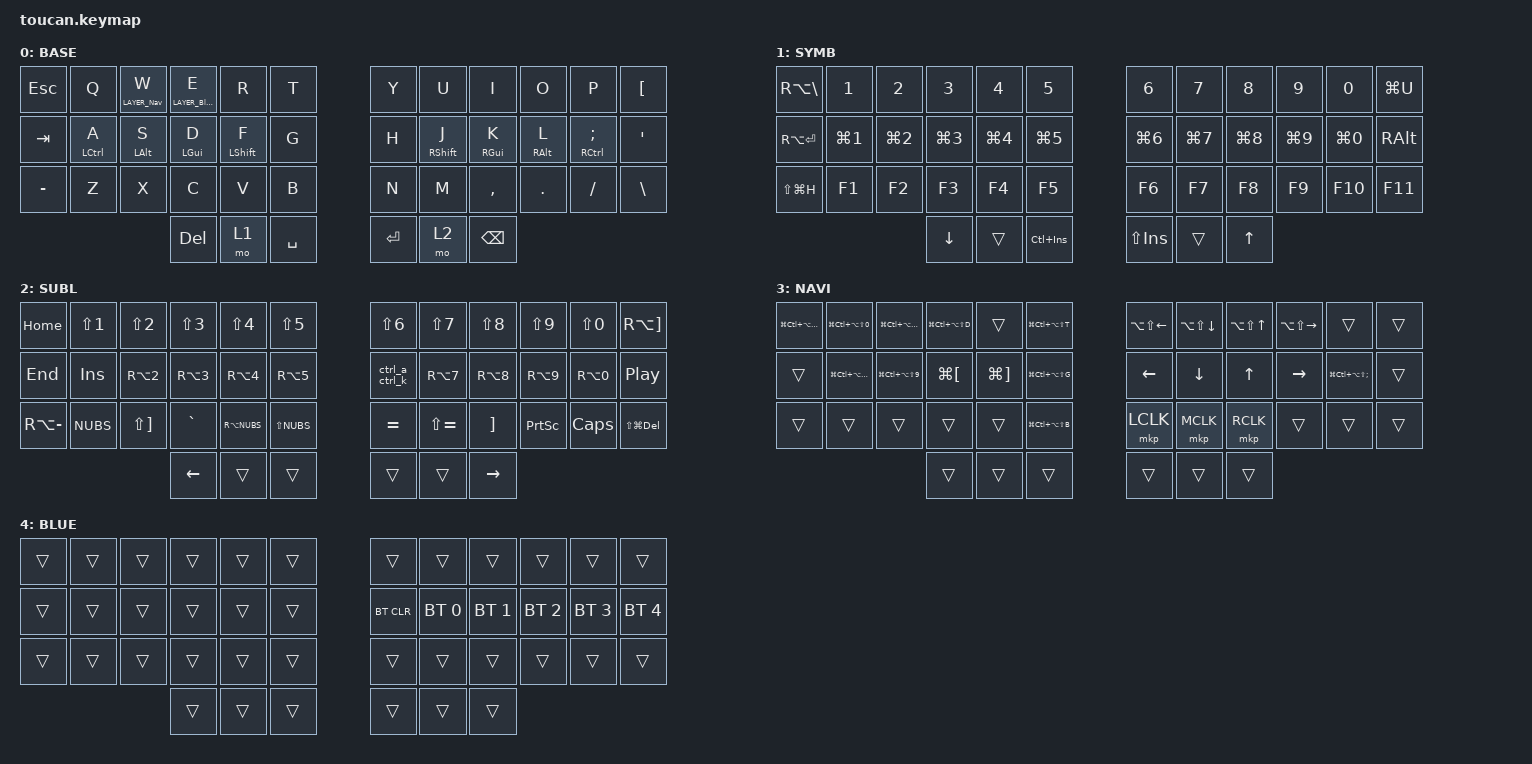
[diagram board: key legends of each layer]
#include <behaviors.dtsi>
#include <dt-bindings/zmk/keys.h>
#include <dt-bindings/zmk/bt.h>
#include <dt-bindings/zmk/outputs.h>
#include <dt-bindings/zmk/pointing.h>

#define LAYER_Base 0
#define LAYER_Symb 1
#define LAYER_Subl 2
#define LAYER_Nav 3
#define LAYER_Bluetooth 4

/ {
    macros {
        ctrl_a_ctrl_k: ctrl_a_ctrl_k {
            compatible = "zmk,behavior-macro";
            #binding-cells = <0>;
            bindings = <&macro_press &kp LCTRL>
                     , <&macro_tap &kp A>
                     , <&macro_release &kp LCTRL>
                     , <&macro_press &kp LCTRL>
                     , <&macro_tap &kp K>
                     , <&macro_release &kp LCTRL>;
        };
    };

    behaviors {
        // Homerow Mod for the left pinky - TailorKey (influenced)
        hrm_l: hrm_l {
            compatible = "zmk,behavior-hold-tap";
            #binding-cells = <2>;
            tapping-term-ms = <300>;
            bindings = <&kp>, <&kp>;
            flavor = "tap-preferred";
            quick-tap-ms = <300>;
            require-prior-idle-ms = <0>;
        };

        // Homerow Mod for the right pinky - TailorKey (influenced).
        hrm_r: hrm_r {
            compatible = "zmk,behavior-hold-tap";
            #binding-cells = <2>;
            tapping-term-ms = <300>;
            bindings = <&kp>, <&kp>;
            flavor = "tap-preferred";
            quick-tap-ms = <300>;
            require-prior-idle-ms = <0>;
        };

        // Homerow Mod for the right pinky - TailorKey (influenced).
        hrm_w: hrm_w {
            compatible = "zmk,behavior-hold-tap";
            #binding-cells = <2>;
            tapping-term-ms = <200>;
            bindings = <&kp>, <&kp>;
            flavor = "tap-preferred";
            quick-tap-ms = <200>;
            require-prior-idle-ms = <0>;
            retro-tap;
        };

        my_mt: my_mt {
            compatible = "zmk,behavior-hold-tap";
            #binding-cells = <2>;
            flavor = "tap-preferred";
            tapping-term-ms = <300>;
            bindings = <&kp>, <&kp>;
        };

        my_lt: my_lt {
            compatible = "zmk,behavior-hold-tap";
            #binding-cells = <2>;
            flavor = "tap-preferred";
            tapping-term-ms = <300>;
            bindings = <&mo>, <&kp>;
        };

        my_mtw: my_mtw {
            compatible = "zmk,behavior-hold-tap";
            #binding-cells = <2>;
            flavor = "tap-preferred";
            tapping-term-ms = <200>;
            bindings = <&kp>, <&kp>;
        };

    };
};

/ {

    keymap {
        compatible = "zmk,keymap";

        layer_Base {
            display-name = "BASE";
            bindings = <
  &kp ESC      &kp Q              &my_lt LAYER_Nav W   &my_lt LAYER_Bluetooth E   &kp R   &kp T                               &kp Y                &kp U        &kp I           &kp O     &kp P               &kp LBKT
  &kp TAB   &hrm_l LCTRL A     &hrm_l LALT S         &hrm_l LGUI D    &hrm_l LSHFT F          &kp G                                    &kp H                &hrm_r RSHFT J         &hrm_r RGUI K   &hrm_r RALT L                 &hrm_r RCTRL SEMI   &kp SQT
  &kp MINUS           &kp Z   &kp X     &kp C   &kp V         &kp B                               &kp N       &kp M   &kp COMMA       &kp DOT   &kp SLASH            &kp BSLH
                                                                                 &kp DEL  &mo 1   &kp SPACE       &kp RET   &mo 2   &kp BSPC
            >;
        };

        layer_Symb {
            display-name = "SYMB";
            bindings = <
  &kp RA(BSLH)   &kp N1      &kp N2    &kp N3     &kp N4   &kp N5                         &kp N6     &kp N7     &kp N8   &kp N9   &kp N0   &kp LG(U)
  &kp RA(RET)   &kp LG(N1)          &kp LG(N2)        &kp LG(N3)      &kp LG(N4)       &kp LG(N5)                             &kp LG(N6)         &kp LG(N7)         &kp LG(N8)       &kp LG(N9)       &kp LG(N0)       &kp RALT
  &kp LS(LG(H))   &kp F1   &kp F2   &kp F3   &kp F4     &kp F5                           &kp F6   &kp F7   &kp F8    &kp F9      &kp F10     &kp F11
                                                        &kp DOWN       &trans       &kp LC(INSERT)       &kp LS(INSERT)   &trans         &kp UP
            >;
        };


        layer_Subl {
            display-name = "SUBL";
            bindings = <
  &kp HOME   &kp LS(N1)   &kp LS(N2)  &kp LS(N3)   &kp LS(N4)   &kp LS(N5)             &kp LS(N6)   &kp LS(N7)   &kp LS(N8)   &kp LS(N9)   &kp LS(N0)   &kp RA(RBKT)
  &kp END   &kp INSERT   &kp RA(N2)   &kp RA(N3)   &kp RA(N4)   &kp RA(N5)       &ctrl_a_ctrl_k   &kp RA(N7)   &kp RA(N8)   &kp RA(N9)     &kp RA(N0)   &kp C_PP
  &kp RA(MINUS)   &kp NUBS    &kp LS(RBKT)       &kp GRAVE    &kp RA(NUBS)   &kp LS(NUBS)            &kp EQUAL   &kp LS(EQUAL)   &kp RBKT   &kp PSCRN  &kp CAPS   &kp LS(LG(DEL))
                                                 &kp LEFT   &trans        &trans       &trans   &trans   &kp RIGHT
            >;
        };

        layer_Nav {
                  display-name = "NAVI";
            bindings = <
  &kp LG(LC(LA(LS(TAB))))   &kp LG(LC(LA(LS(N0))))      &kp LG(LC(LA(LS(W))))    &kp LG(LC(LA(LS(D))))   &trans         &kp LG(LC(LA(LS(T))))                         &kp LA(LS(LEFT))   &kp LA(LS(DOWN))   &kp LA(LS(UP))   &kp LA(LS(RIGHT))   &trans                     &trans
  &trans                    &kp LG(LC(LA(LS(EQUAL))))   &kp LG(LC(LA(LS(N9))))   &kp LG(LBKT)            &kp LG(RBKT)   &kp LG(LC(LA(LS(G))))                         &kp LEFT           &kp DOWN           &kp UP           &kp RIGHT           &kp LG(LC(LA(LS(SEMI))))   &trans
  &trans                    &trans                      &trans                   &trans                  &trans         &kp LG(LC(LA(LS(B))))                         &mkp LCLK             &mkp MCLK             &mkp RCLK           &trans              &trans                     &trans
                                                                                                         &trans         &trans                  &trans       &trans   &trans             &trans
            >;
        };

          layer_Bluetooth {
            display-name = "BLUE";
            bindings = <
  &trans   &trans   &trans   &trans   &trans   &trans                         &trans       &trans         &trans         &trans         &trans         &trans
  &trans   &trans   &trans   &trans   &trans   &trans                         &bt BT_CLR   &bt BT_SEL 0   &bt BT_SEL 1   &bt BT_SEL 2   &bt BT_SEL 3   &bt BT_SEL 4
  &trans   &trans   &trans   &trans   &trans   &trans                         &trans       &trans         &trans         &trans         &trans         &trans
                                      &trans   &trans   &trans       &trans   &trans       &trans
            >;
        };
    };
};
